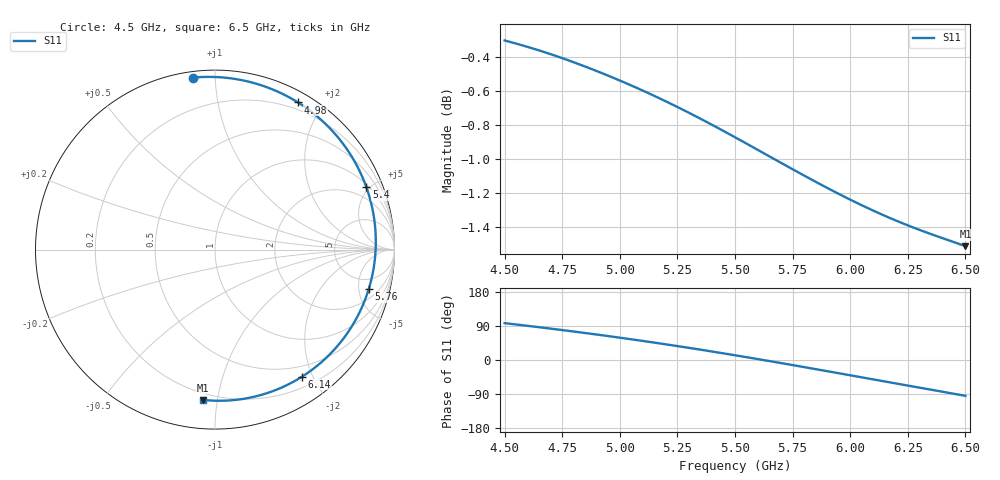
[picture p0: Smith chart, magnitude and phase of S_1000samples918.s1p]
! TOUCHSTONE file generated by CST MICROWAVE STUDIO
! Date and time: Sat Oct 29 19:24:01 2022
! Project name: L.cst
! Parameters = {Di=1.27; Epsilon_r=1.56; InnerDiameter=1.27; Length=2; Lf=10; Lg=60; OuterConductorThickness=0.2921; OuterDiameter=3.6; Wf=3; Wp=41.2; de=1.5; df=6.8; g=0.8; gx=4.88745; gy=3.90513; h=2.34; hf=1.524; px=10.3239; py=12.7281; w=9.7; wx=5.43645; wy=8.82295}
! Header version: 2018
! Port assignment regex: !\s*Touchstone port\s*([0-9]+)\s*=\s*(CST MWS port|CST DS port)\s*([0-9]+|Zmin|Zmax)\s*\(\"(.*)\"\)(\s*mode\s*([0-9]+))?.*
! Touchstone port assignment:
! Touchstone port 1 = CST MWS port 1 ("")
# GHz S DB R 50
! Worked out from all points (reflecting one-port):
!   101 points, 4.5 GHz to 6.5 GHz, reference 50 ohm
!   lowest |S11| = -1.5 dB at 6.5 GHz (marker M1), VSWR 11.50, Z = 8.01 - j45.6 ohm
!   phase of S11 starts at 97 deg and turns -192 deg over the sweep
!   S11 on the Smith chart (normalised r, x): 4.5 GHz: 0.03, +0.88; 4.98 GHz: 0.12, +1.71; 5.4 GHz: 1.15, +4.78; 5.76 GHz: 3.14, -6.36; 6.14 GHz: 0.34, -1.85; 6.5 GHz: 0.16, -0.91
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4.5  -0.30 97.2
4.64  -0.36 87.2
4.76  -0.41 78.2
4.88  -0.47 68.8
4.98  -0.53 60.6
5  -0.54 58.9
5.12  -0.61 48.5
5.18  -0.65 43.1
5.26  -0.70 35.8
5.34  -0.76 28.2
5.4  -0.80 22.4
5.5  -0.87 12.5
5.58  -0.93 4.4
5.64  -0.98 -1.8
5.7  -1.02 -8.1
5.76  -1.07 -14.5
5.82  -1.11 -20.9
5.88  -1.16 -27.3
5.94  -1.20 -33.8
6  -1.24 -40.3
6.08  -1.29 -49.0
6.14  -1.33 -55.5
6.2  -1.36 -62.0
6.26  -1.40 -68.5
6.32  -1.43 -75.0
6.38  -1.46 -81.5
6.44  -1.49 -88.0
6.5  -1.51 -94.5
